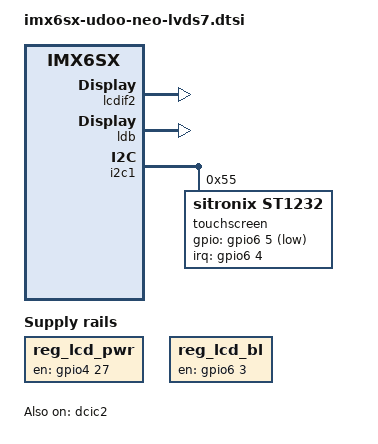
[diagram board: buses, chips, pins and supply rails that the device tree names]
/*
 * Copyright (C) 2015 Jasbir Matharu
 * Author: Ettore Chimenti <ek5.chimenti@gmail.com>
 *
 * This program is free software; you can redistribute it and/or modify
 * it under the terms of the GNU General Public License version 2 as
 * published by the Free Software Foundation.
 */

/ {
	reg_lcd_pwr: lcd_pwr {
		compatible = "regulator-fixed", "udoo,lvds-power";
		regulator-name = "LCD POWER";
		gpio = <&gpio4 27 GPIO_ACTIVE_LOW>;
		enable-active-high;
		regulator-boot-on;
		regulator-always-on;
		status = "okay";
	};

	reg_lcd_bl: lcd_bl {
		compatible = "regulator-fixed", "udoo,lvds-backlight";
		regulator-name = "LCD BACKLIGHT BL_ON";
		gpio = <&gpio6 3 GPIO_ACTIVE_LOW>;
		enable-active-high;
		regulator-boot-on;
		regulator-always-on;
	};
};

&lcdif2 {
	display = <&display1>;
	disp-dev = "ldb";
	status = "okay";

	display1: display {
		bits-per-pixel = <16>;
		bus-width = <18>;
	};
};

&ldb {
	pinctrl-names = "default";
	pinctrl-0 = <&pinctrl_ldb_0>;
	lcd-supply = <&reg_lcd_pwr 
                      &reg_lcd_bl>;
	status = "okay";

	lvds-channel@0 {
		fsl,data-mapping = "spwg";
		fsl,data-width = <18>;
		crtc = "lcdif2";
		status = "okay";
		
		display-timings {
			native-mode = <&timing2>;
			timing2: LDB-WVGA {
				clock-frequency = <33660000>;
				hactive = <800>;
				vactive = <480>;
				hback-porch = <56>;
				hfront-porch = <50>;
				vback-porch = <23>;
				vfront-porch = <20>;
				hsync-len = <150>;
				vsync-len = <2>;
			};
		};
	};
};

&i2c1 {
	touchscreen: st1232@55 {
		compatible = "sitronix,st1232";
		reg = <0x55>;
		interrupt-parent = <&gpio6>;
		interrupts = <4 IRQ_TYPE_LEVEL_LOW>;
		pinctrl-0 = <&pinctrl_st1232>;
		pinctrl-names = "default";
		gpios = <&gpio6 5 GPIO_ACTIVE_LOW>;
	};
};


&dcic2 {
	dcic_id = <1>;
	dcic_mux = "dcic-lvds";
	status = "okay";
};
